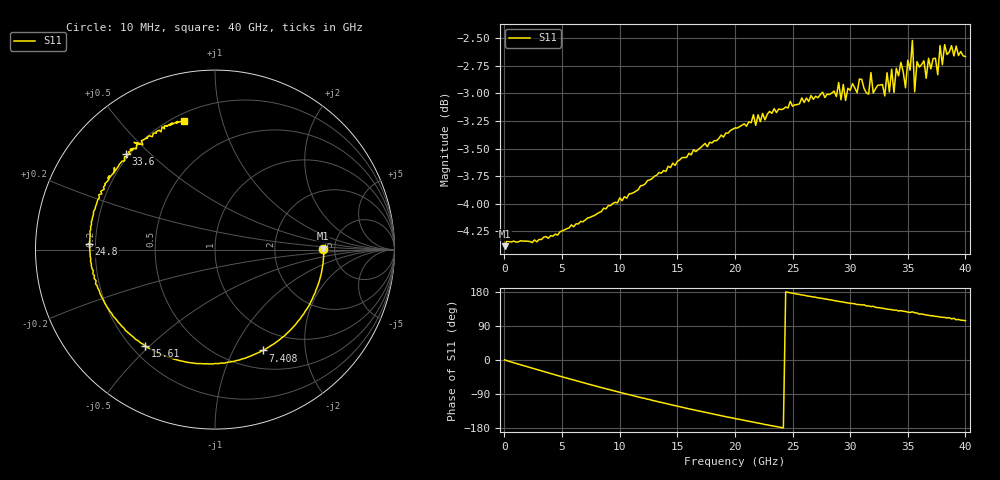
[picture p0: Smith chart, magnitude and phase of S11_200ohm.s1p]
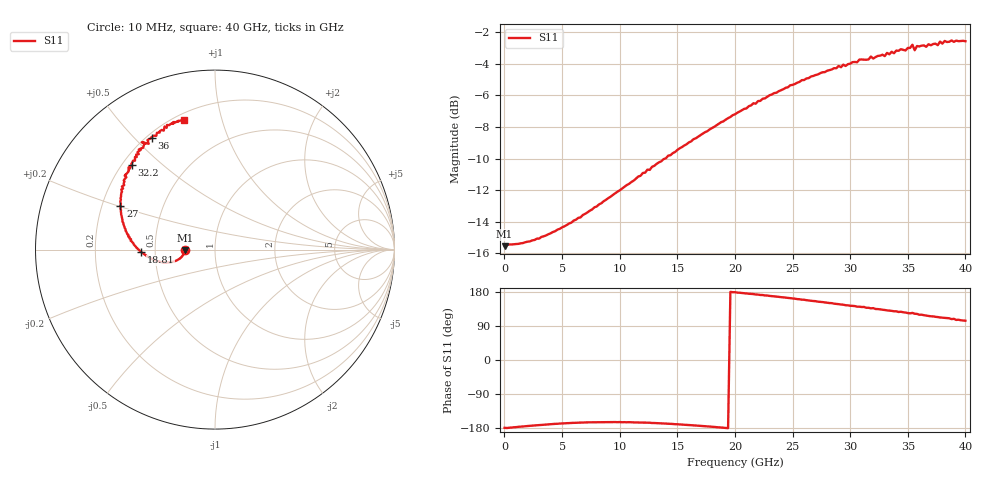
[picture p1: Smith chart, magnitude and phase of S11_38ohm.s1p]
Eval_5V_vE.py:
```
"""
-5 V / 5 mA result with the v(E) baseline (tau_C = 9.32 ps)
===========================================================
S11 is H_ph-independent -> Cj common fit unchanged = 166.44 fF.
Transit times bias-independent (from -7V Lumerical field):
  tau_A=3.53, tau_C=9.32 (v(E)), tau_R=0.07, tau_h=3.56 ps.
-7 V Option B L values (bias-independent), FEM L_Rp.
"""
import numpy as np, pandas as pd, os
import matplotlib.pyplot as plt

W_A=480e-9; W_C=980e-9; W_Adep=160e-9; W_norm=W_A+W_C+W_Adep
tau_A=3.530e-12; tau_C=9.321e-12; tau_R=0.070e-12; tau_h=W_Adep/4.5e4
def H_ph(w):
    s=lambda x: np.sinc(x/np.pi)
    a=W_A*(2+1j*w*tau_R)/(2*(1+1j*w*tau_R))
    c=W_C*s(w*tau_C/2)*np.exp(-1j*w*tau_C/2)
    h=W_Adep*s(w*tau_h/2)*np.exp(-1j*(w*tau_A+w*tau_h/2))
    return (a+c+h)/(W_norm*(1+1j*w*tau_A))
C_CPW=46.53e-15; R_L=50.0; Rs=8.92
Cj=166.44e-15                        # -5V S11 common fit (H_ph-independent)
def _Y_Rp(w,Rp,Lrp): return 0.0 if np.isinf(Rp) else 1.0/(Rp+1j*w*Lrp)
def sim_S11(w,Rp,Lcpw,Lrp,Lcpw2):
    Zs=Rs+1j*w*Lcpw2; Z_dev=Zs+1/(1j*w*Cj)
    Z_in=1j*w*Lcpw+1/(1j*w*C_CPW+_Y_Rp(w,Rp,Lrp)+1/Z_dev)
    return (Z_in-50)/(Z_in+50)
def H_ckt(w,Rp,Lcpw,Lrp,Lcpw2):
    Zs=Rs+1j*w*Lcpw2
    Y_A=1j*w*C_CPW+_Y_Rp(w,Rp,Lrp)+1/(1j*w*Lcpw+R_L)
    return (R_L/(1j*w*Lcpw+R_L))/(1j*w*Cj+Y_A*(1+1j*w*Cj*Zs))
def gbw(f,Hd):
    i=np.where(Hd<=-3)[0]; return f[i[0]]/1e9 if len(i) else np.nan
def load_s1p(p):
    r=[]
    for l in open(p):
        l=l.strip()
        if not l or l.startswith(('!','#')): continue
        q=l.split()
        if len(q)>=3: r.append([float(q[0]),float(q[1]),float(q[2])])
    a=np.array(r); return a[:,0],10**(a[:,1]/20)*np.exp(1j*np.deg2rad(a[:,2]))
def load_fr(p):
    df=pd.read_excel(p,header=14)
    f=pd.to_numeric(df.iloc[:,0],errors='coerce'); cal=pd.to_numeric(df.iloc[:,6],errors='coerce')
    m=f.notna()&cal.notna(); f,cal=f[m].values*1e9,cal[m].values
    pm=cal-cal[0]; keep=pm<2.0
    return f[keep],pm[keep],cal[keep]

configs=[dict(lbl='Rp=200Ω',tag='Rp_200ohm',Rp=200.0,col='#888888',mk='D',
              s1p='data_5V_5mA/S11_200ohm.s1p',fr='data_5V_5mA/200ohm.xlsx',
              Lcpw=197.9e-12,Lcpw2=0.0,Lrp=153.7e-12),
         dict(lbl='Rp=38Ω',tag='Rp_38ohm',Rp=38.0,col='#1B998B',mk='o',
              s1p='data_5V_5mA/S11_38ohm.s1p',fr='data_5V_5mA/38ohm.xlsx',
              Lcpw=141.6e-12,Lcpw2=56.3e-12,Lrp=65.6e-12),
         dict(lbl='Rp=60Ω',tag='Rp_60ohm',Rp=60.0,col='#FF8C00',mk='s',
              s1p='data_5V_5mA/S11_60ohm.s1p',fr='data_5V_5mA/60ohm.xlsx',
              Lcpw=149.9e-12,Lcpw2=48.0e-12,Lrp=71.8e-12),
         dict(lbl='Open',tag='Open',Rp=np.inf,col='#E91E8C',mk='^',
              s1p='data_5V_5mA/S11_WO.s1p',fr='data_5V_5mA/WO.xlsx',
              Lcpw=197.9e-12,Lcpw2=0.0,Lrp=0.0)]
f_plot=np.linspace(0.1e9,40e9,4000); w_plot=2*np.pi*f_plot; Iph=5e-3; Z0=50.0
out='origin_data_5V_5mA_vE'; os.makedirs(out,exist_ok=True)
print('='*88)
print(f'-5 V / 5 mA  |  v(E) baseline tau_C=9.32 ps, f_tr=29.70 GHz  |  Cj={Cj*1e15:.1f} fF')
print('='*88)
print(f'{"Device":>10} | {"RMS_S11":>8} | {"BW model":>8} | {"BW meas":>8} | {"RMS_H":>6}')
print('-'*60)
def draw_smith(ax,lw=0.6):
    ax.set_xlim(-1.08,1.08); ax.set_ylim(-1.08,1.08); ax.set_aspect('equal'); ax.axis('off')
    ax.add_patch(plt.Circle((0,0),1,fill=False,color='#888',lw=lw+0.3)); ax.axhline(0,color='#888',lw=lw,zorder=0)
    for r in [0.2,0.5,1,2,5]:
        cx,rad=r/(r+1),1/(r+1); ax.add_patch(plt.Circle((cx,0),rad,fill=False,color='#aaa',lw=lw,ls=':',zorder=0))
    th=np.linspace(0,np.pi,400)
    for x in [0.2,0.5,1,2,5]:
        for sg in [1,-1]:
            xx=1+(1/x)*np.cos(th); yy=sg/x+(1/x)*np.sin(th)*sg; m=(xx**2+yy**2<=1.002)
            ax.plot(xx[m],yy[m],color='#aaa',lw=lw,ls=':',zorder=0)
fig,axes=plt.subplots(3,4,figsize=(20,14))
fig.suptitle(f'-5 V / 5 mA  |  v(E) baseline (tau_C=9.32 ps)  Cj={Cj*1e15:.1f} fF, -7V L values\n'
             'Row1: Smith  Row2: |S11| dB  Row3: Freq response',fontsize=11,fontweight='bold')
for ci,cfg in enumerate(configs):
    fs11,S11m=load_s1p(cfg['s1p']); ws=2*np.pi*fs11
    S=sim_S11(ws,cfg['Rp'],cfg['Lcpw'],cfg['Lrp'],cfg['Lcpw2'])
    rms=np.sqrt(np.mean(np.abs(S-S11m)**2))
    fm,pm,cal=load_fr(cfg['fr']); wm=2*np.pi*fm
    Hm=H_ph(wm)*H_ckt(wm,cfg['Rp'],cfg['Lcpw'],cfg['Lrp'],cfg['Lcpw2'])
    Hp=H_ph(w_plot)*H_ckt(w_plot,cfg['Rp'],cfg['Lcpw'],cfg['Lrp'],cfg['Lcpw2'])
    Hd_m=20*np.log10(np.abs(Hm)/np.abs(Hm[0])); Hd_p=20*np.log10(np.abs(Hp)/np.abs(Hp[0]))
    Pabs=10*np.log10((np.abs(Iph*Hp)**2/(2*R_L))/1e-3)
    Pabs_m=10*np.log10((np.abs(Iph*Hm)**2/(2*R_L))/1e-3)
    rms_H=np.sqrt(np.mean((Hd_m-pm)**2)); bw=gbw(f_plot,Hd_p)
    i3=np.where(pm<=-3)[0]; bwm=fm[i3[0]]/1e9 if len(i3) else np.nan
    bwm_s=f'{bwm:.1f}' if not np.isnan(bwm) else f'>{fm[-1]/1e9:.0f}'
    print(f'{cfg["lbl"]:>10} | {rms:>8.5f} | {bw:>7.1f}G | {bwm_s:>7}G | {rms_H:>6.2f}')
    ax=axes[0,ci]; draw_smith(ax)
    ax.scatter(S11m.real,S11m.imag,s=10,color=cfg['col'],zorder=6,label='Meas -5V')
    ax.plot(S.real,S.imag,'--',color='k',lw=1.5,zorder=5,label='Model')
    ax.set_title(f'{cfg["lbl"]}\nRMS|ΔΓ|={rms:.4f}',fontsize=10,fontweight='bold')
    ax.legend(fontsize=8.5,loc='lower left',framealpha=0.85,edgecolor='none',handlelength=1.5,markerscale=1.5)
    ax=axes[1,ci]
    ax.plot(fs11/1e9,20*np.log10(np.abs(S11m)),'-',color=cfg['col'],lw=1.0,label='Meas')
    ax.plot(fs11/1e9,20*np.log10(np.abs(S)),'--',color='k',lw=1.4,label='Model')
    ax.set_xlabel('Frequency (GHz)'); ax.set_ylabel('|S11| (dB)'); ax.set_xlim(0,40)
    ax.legend(fontsize=8.5,loc='lower right'); ax.grid(True,alpha=0.3)
    ax=axes[2,ci]
    ax.scatter(fm/1e9,pm,color='k',marker=cfg['mk'],s=22,edgecolors=cfg['col'],linewidths=1.0,zorder=5,label='Meas (5mA)')
    ax.plot(f_plot/1e9,Hd_p,'-',color=cfg['col'],lw=2.0,label=f'Model BW={bw:.1f}G RMS={rms_H:.2f}dB')
    ax.axhline(-3,color='gray',ls=':',lw=0.7,alpha=0.7)
    ax.set_xlabel('Frequency (GHz)'); ax.set_ylabel('Norm. H (dB)'); ax.set_xlim(0,40); ax.set_ylim(-15,3)
    ax.legend(fontsize=8.5,loc='lower left'); ax.grid(True,alpha=0.3)
    # origin exports
    t=cfg['tag']; zm=(1+S11m)/(1-S11m); zf=(1+S)/(1-S)
    with open(f'{out}/s11_{t}.txt','w') as f:
        f.write('Freq_GHz\tS11_meas_dB\tS11_meas_deg\tS11_model_dB\tS11_model_deg\n')
        for i in range(len(fs11)):
            f.write(f'{fs11[i]/1e9:.6g}\t{20*np.log10(abs(S11m[i])):.6g}\t{np.angle(S11m[i],deg=True):.6g}\t{20*np.log10(abs(S[i])):.6g}\t{np.angle(S[i],deg=True):.6g}\n')
    with open(f'{out}/impedance_{t}.txt','w') as f:
        f.write('Freq_GHz\tr_meas\tx_meas\tr_model\tx_model\tR_meas_ohm\tX_meas_ohm\tR_model_ohm\tX_model_ohm\n')
        for i in range(len(fs11)):
            f.write(f'{fs11[i]/1e9:.6g}\t{zm.real[i]:.6g}\t{zm.imag[i]:.6g}\t{zf.real[i]:.6g}\t{zf.imag[i]:.6g}\t{zm.real[i]*Z0:.6g}\t{zm.imag[i]*Z0:.6g}\t{zf.real[i]*Z0:.6g}\t{zf.imag[i]*Z0:.6g}\n')
    with open(f'{out}/freqresp_{t}.txt','w') as f:
        f.write('Freq_GHz\tNorm_dB_meas\tNorm_dB_model\tCalRF_dBm_meas\tModel_dBm_5mA\n')
        for i in range(len(fm)):
            f.write(f'{fm[i]/1e9:.6g}\t{pm[i]:.6g}\t{Hd_m[i]:.6g}\t{cal[i]:.6g}\t{Pabs_m[i]:.6g}\n')
    with open(f'{out}/model_40GHz_{t}.txt','w') as f:
        f.write('Freq_GHz\tNorm_dB_model\tModel_dBm_5mA\n')
        for i in range(len(f_plot)):
            f.write(f'{f_plot[i]/1e9:.6g}\t{Hd_p[i]:.6g}\t{Pabs[i]:.6g}\n')
fig.tight_layout(); fig.savefig('Eval_5V_vE.png',dpi=150,bbox_inches='tight')
print(f'\nSaved: Eval_5V_vE.png + {out}/ (4 file types x 4 devices)')
```
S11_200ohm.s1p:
!Agilent Technologies,N5227A,US51270434,A.10.00.00
!Agilent N5227A: A.10.00.00
!Date: Monday, March 30, 2026 11:35:38
!Correction: S11(Full 1 Port(1))
!S1P File: Measurement: S11:
# Hz S  dB  R 50
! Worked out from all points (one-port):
!   201 points, 10 MHz to 40 GHz, reference 50 ohm
!   lowest |S11| = -4.4 dB at 10 MHz (marker M1), VSWR 4.05, Z = 202 + j2.75 ohm
!   |S11| at or under -10 dB: nowhere
!   S11 on the Smith chart (normalised r, x): 10 MHz: 4.05, +0.06; 7.408 GHz: 0.72, -1.32; 15.61 GHz: 0.25, -0.48; 24.8 GHz: 0.18, +0.02; 33.6 GHz: 0.19, +0.42; 40 GHz: 0.24, +0.76
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1e7  -4.38 0.4
3.40915e9  -4.30 -30.4
7.40815e9  -4.12 -64.6
1.00075e10  -3.95 -85.3
1.340665e10  -3.72 -110.6
1.56061e10  -3.58 -126.1
1.980505e10  -3.32 -153.4
2.48038e10  -3.07 177.5
2.68033e10  -3.05 166.3
3.36016e10  -2.78 132.9
3.52012e10  -2.79 125.5
3.540115e10  -2.52 127.1
3.6001e10  -2.76 121.1
4e10  -2.67 103.7
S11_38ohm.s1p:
!Agilent Technologies,N5227A,US51270434,A.10.00.00
!Agilent N5227A: A.10.00.00
!Date: Monday, March 30, 2026 11:27:45
!Correction: S11(Full 1 Port(1))
!S1P File: Measurement: S11:
# Hz S  dB  R 50
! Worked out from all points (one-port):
!   201 points, 10 MHz to 40 GHz, reference 50 ohm
!   lowest |S11| = -15.5 dB at 10 MHz (marker M1), VSWR 1.40, Z = 35.7 - j0.205 ohm
!   |S11| at or under -10 dB: start of sweep to 13.95 GHz
!   S11 on the Smith chart (normalised r, x): 10 MHz: 0.71, -0.00; 18.81 GHz: 0.42, -0.01; 27 GHz: 0.28, +0.20; 32.2 GHz: 0.24, +0.40; 36 GHz: 0.22, +0.56; 40 GHz: 0.24, +0.76
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1e7  -15.54 -179.0
5.80855e9  -14.05 -166.1
1.340665e10  -10.24 -166.9
1.88053e10  -7.70 -178.2
2.28043e10  -6.09 170.1
2.68033e10  -4.78 155.6
2.700325e10  -4.72 155.2
3.08023e10  -3.74 140.7
3.220195e10  -3.59 134.6
3.52012e10  -3.01 123.1
3.540115e10  -2.81 124.3
3.56011e10  -3.15 122.1
3.6001e10  -2.91 119.5
4e10  -2.58 103.6
